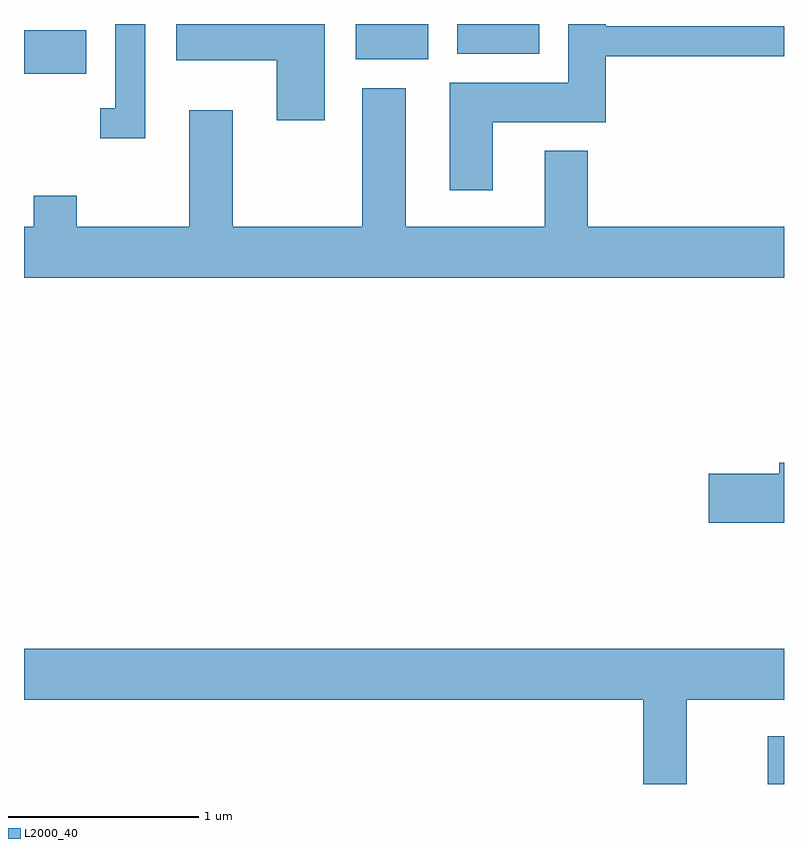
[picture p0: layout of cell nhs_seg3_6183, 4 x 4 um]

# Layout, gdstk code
import gdstk
lib = gdstk.Library(unit=1e-6, precision=1e-09)
def R(c, l, rs):  # rectangles x0, y0, x1, y1
    for r in rs: c.add(gdstk.rectangle(r[:2], r[2:], *l))
def P(c, l, *ps):  # polygons
    for p in ps: c.add(gdstk.Polygon(p, *l))
L2000_40 = (2000, 40)

nhs_seg3_6183 = lib.new_cell('nhs_seg3_6183')
R(nhs_seg3_6183, L2000_40, [(369.526,1249.892,369.611,1250.144), (365.611,1253.631,365.939,1253.859), (367.356,1253.706,367.739,1253.892), (367.891,1253.736,368.324,1253.892)])
P(nhs_seg3_6183, L2000_40, [(368.079,1253.376),(368.674,1253.376),(368.674,1253.721),(369.611,1253.721),(369.611,1253.879),(368.674,1253.879),(368.674,1253.892),(368.476,1253.892),(368.476,1253.584),(367.851,1253.584),(367.851,1253.016),(368.079,1253.016)],
  [(366.249,1253.892),(366.091,1253.892),(366.091,1253.449),(366.013,1253.449),(366.013,1253.291),(366.249,1253.291)],
  [(367.194,1253.892),(366.411,1253.892),(366.411,1253.701),(366.941,1253.701),(366.941,1253.386),(367.194,1253.386)],
  [(369.611,1252.824),(368.579,1252.824),(368.579,1253.224),(368.351,1253.224),(368.351,1252.824),(367.619,1252.824),(367.619,1253.554),(367.391,1253.554),(367.391,1252.824),(366.709,1252.824),(366.709,1253.439),(366.481,1253.439),(366.481,1252.824),(365.889,1252.824),(365.889,1252.989),(365.661,1252.989),(365.661,1252.824),(365.611,1252.824),(365.611,1252.556),(369.611,1252.556)],
  [(369.611,1251.584),(369.586,1251.584),(369.586,1251.524),(369.216,1251.524),(369.216,1251.266),(369.611,1251.266)],
  [(369.099,1250.336),(369.611,1250.336),(369.611,1250.604),(365.611,1250.604),(365.611,1250.336),(368.871,1250.336),(368.871,1249.892),(369.099,1249.892)])

lib.write_gds('nhs_seg3_6183.gds')
